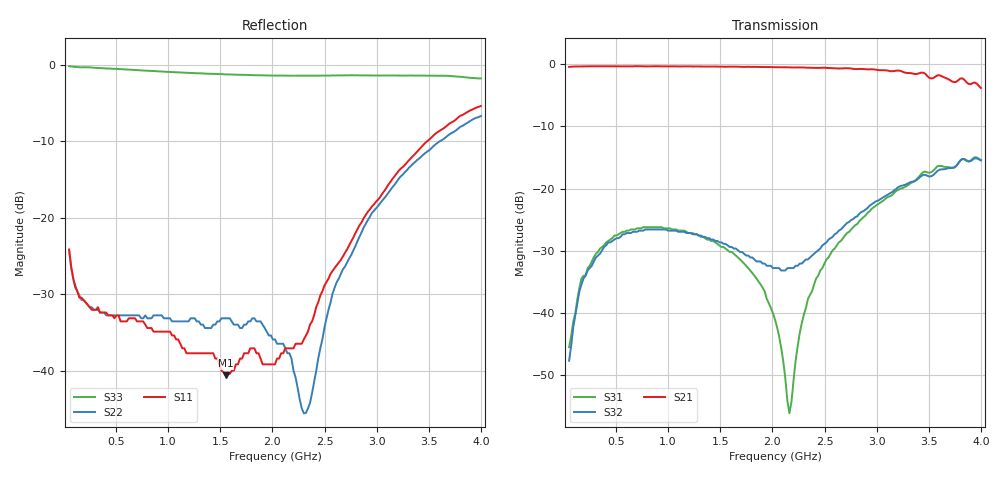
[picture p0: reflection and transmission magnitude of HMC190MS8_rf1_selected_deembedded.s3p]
!Hittite Microwave Corporation
!12 Elizabeth Drive
!Chelmsford, MA 01824
!Tel: 978-250-3343
!Fax: 978-250-3373
!Device: HMC190MS8, DC - 3 GHz SPDT switch in MSOP-8 package
!Misc: Port 1 = RFC, Port 2 = RF1, Port 3 = RF2, RF1 Selected, Bias: +3VDC
# MHZ S MA R 50
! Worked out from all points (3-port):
!   201 points, 50 MHz to 4 GHz, reference 50 ohm
!   strongest paths, dB at 50 MHz, 1.038 GHz, 2.025 GHz, 3.013 GHz, 4 GHz:
!     S21: -0.4, -0.3, -0.5, -0.9, -3.8
!     S32: -47.7, -26.7, -32.8, -21.9, -15.4
!     S31: -45.5, -26.6, -41.1, -22.5, -15.4
!   lowest |S11| = -40.6 dB at 1.551 GHz (marker M1), VSWR 1.02, Z = 50.9 - j0.208 ohm
!   |S11| at or under -10 dB: start of sweep to 3.485 GHz
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50  0.062 -53.8  0.949 2.2  0.004226 86.7
    0.95 2.4  0.061 -53.5  0.004335 90.3
    0.005331 81.4  0.004143 102.4  0.979 -11.1
188.25  0.029 -48.2  0.958 0.1  0.02 77.8
        0.959 0.1  0.029 -48.6  0.019 79.6
        0.02 77.8  0.019 78.5  0.963 -38.3
504.25  0.023 -58.4  0.961 -1.0  0.042 50.5
        0.961 -1.1  0.023 -55.2  0.04 55.5
        0.042 50.8  0.04 55.9  0.94 -92.2
958.5  0.018 -65.2  0.959 -2.3  0.048 28.5
       0.96 -2.3  0.022 -56.5  0.046 39.8
       0.048 28.3  0.047 39.6  0.901 -145.3
1551  0.009312 -12.7  0.953 -4.3  0.032 14.8
      0.953 -4.1  0.022 -34.5  0.034 41.9
      0.033 12.7  0.036 39.6  0.865 168.3
2025  0.011 37.8  0.947 -6.4  0.008524 9.1
      0.945 -6.4  0.016 -28.5  0.021 69.7
      0.008861 11.4  0.023 71.8  0.851 139.1
2163.25  0.014 75.6  0.942 -7.1  0.001597 86.6
         0.942 -7.2  0.013 -38.5  0.023 89.5
         0.001568 94.4  0.023 91.6  0.848 131.6
2321.25  0.017 111.6  0.937 -8.2  0.011 171.0
         0.937 -8.2  0.00529 -130.2  0.027 113.9
         0.011 168.6  0.027 112.4  0.848 123.2
2578  0.045 135.6  0.925 -9.8  0.034 171.0
      0.927 -10.1  0.032 175.1  0.044 135.2
      0.032 169.6  0.041 133.2  0.852 110.6
4000  0.538 112.3  0.662 -28.8  0.162 132.7
      0.643 -27.4  0.462 122.0  0.161 128.3
      0.169 133.5  0.169 127.2  0.814 63.6
